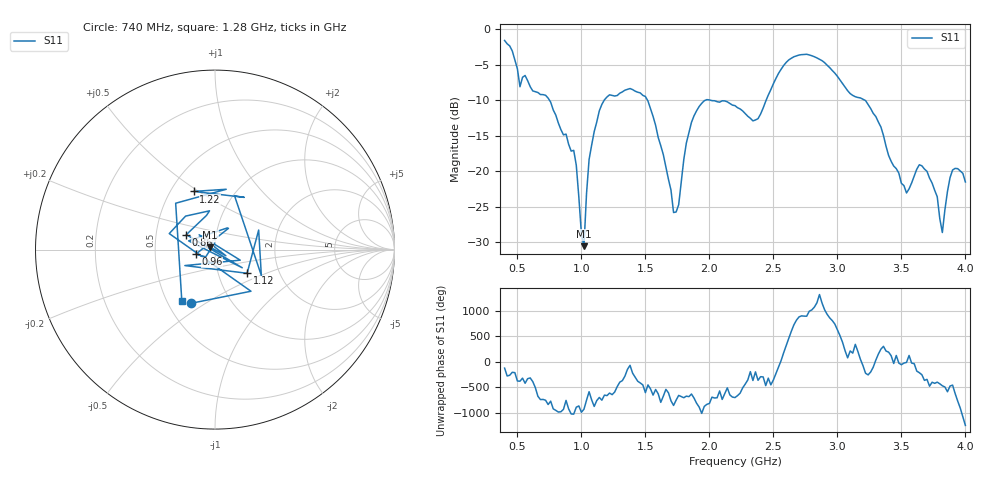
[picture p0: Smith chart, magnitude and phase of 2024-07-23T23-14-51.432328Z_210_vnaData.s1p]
!Created with skrf (http://scikit-rf.org).
# Hz S RI R 50.0
!freq ReS11 ImS11
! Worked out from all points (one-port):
!   181 points, 400 MHz to 4 GHz, reference 50 ohm
!   lowest |S11| = -30.6 dB at 1.02 GHz (marker M1), VSWR 1.06, Z = 47.4 + j1.25 ohm
!   |S11| at or under -10 dB: 1.516 GHz to 1.969 GHz (452.2 MHz wide, 25.9 % of centre); 2.009 GHz to 2.443 GHz (434.4 MHz wide, 19.5 % of centre); 3.215 GHz to end of sweep (the widest 3 of 4)
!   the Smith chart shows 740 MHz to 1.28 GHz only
!   S11 on the Smith chart (normalised r, x): 740 MHz: 0.65, -0.44; 860 MHz: 0.72, +0.12; 960 MHz: 0.81, -0.04; 1.12 GHz: 1.37, -0.38; 1.22 GHz: 0.65, +0.48; 1.28 GHz: 0.59, -0.39
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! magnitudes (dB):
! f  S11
! 400 MHz  -1.6
! 520 MHz  -8.1
! 740 MHz  -9.7
! 860 MHz  -14.9
! 960 MHz  -19.2
! 1 GHz  -28.8
! 1.02 GHz  -30.6
! 1.06 GHz  -18.4
! 1.12 GHz  -13.1
! 1.22 GHz  -9.2
! 1.28 GHz  -9.3
! 1.3 GHz  -9.0
! 1.52 GHz  -10.1
! 1.72 GHz  -25.8
! 1.76 GHz  -24.7
! 1.82 GHz  -16.0
! 1.9 GHz  -11.5
! 2.2 GHz  -10.8
! 2.38 GHz  -12.6
! 2.66 GHz  -3.9
! 3.1 GHz  -9.1
! 3.3 GHz  -12.3
! 3.56 GHz  -22.5
! 3.7 GHz  -20.0
! 3.78 GHz  -23.6
! 3.82 GHz  -28.6
! 3.9 GHz  -19.8
! 4 GHz  -21.5
